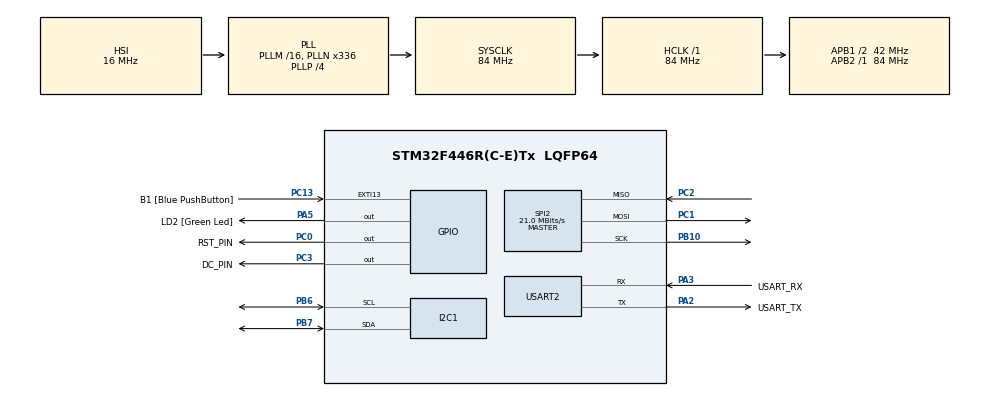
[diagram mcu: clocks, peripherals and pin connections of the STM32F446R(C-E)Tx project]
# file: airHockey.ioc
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I2C1.I2C_Mode=I2C_Fast
Mcu.Family=STM32F4
Mcu.Name=STM32F446R(C-E)Tx
Mcu.Package=LQFP64
Mcu.UserConstants=PSC_33Hz,(2520-1);PSC_125Hz,(672-1);PSC_1000Hz,(84-1)
NVIC.PriorityGroup=NVIC_PRIORITYGROUP_0
NVIC.TIM1_TRG_COM_TIM11_IRQn=true\:0\:0\:false\:false\:true\:true\:true\:true
NVIC.TIM1_UP_TIM10_IRQn=true\:0\:0\:false\:false\:true\:true\:true\:true
NVIC.TIM7_IRQn=true\:0\:0\:false\:false\:true\:true\:true\:true
NVIC.TIM8_TRG_COM_TIM14_IRQn=true\:0\:0\:false\:false\:true\:true\:true\:true
NVIC.TIM8_UP_TIM13_IRQn=true\:0\:0\:false\:false\:true\:true\:true\:true
PA13.GPIO_Label=TMS
PA13.Mode=Serial_Wire
PA13.Signal=SYS_JTMS-SWDIO
PA14.GPIO_Label=TCK
PA14.Mode=Serial_Wire
PA14.Signal=SYS_JTCK-SWCLK
PA2.GPIO_Label=USART_TX
PA2.Mode=Asynchronous
PA2.Signal=USART2_TX
PA3.GPIO_Label=USART_RX
PA3.Mode=Asynchronous
PA3.Signal=USART2_RX
PA5.GPIO_Label=LD2 [Green Led]
PA5.Signal=GPIO_Output
PB10.Mode=Full_Duplex_Master
PB10.Signal=SPI2_SCK
PB10.Mode=Full_Duplex_Master
PB10.Signal=SPI2_SCK
PB3.GPIO_Label=SWO
PB3.Signal=SYS_JTDO-SWO
PB6.Mode=I2C
PB6.Signal=I2C1_SCL
PB7.Mode=I2C
PB7.Signal=I2C1_SDA
PC0.GPIO_Label=RST_PIN
PC0.Signal=GPIO_Output
PC1.Mode=Full_Duplex_Master
PC1.Signal=SPI2_MOSI
PC0.GPIO_Label=RST_PIN
PC0.Signal=GPIO_Output
PC1.Mode=Full_Duplex_Master
PC1.Signal=SPI2_MOSI
PC13.GPIO_Label=B1 [Blue PushButton]
PC13.GPIO_ModeDefaultEXTI=GPIO_MODE_IT_FALLING
PC13.Signal=GPXTI13
PC14-OSC32_IN.Mode=LSE-External-Oscillator
PC14-OSC32_IN.Signal=RCC_OSC32_IN
PC15-OSC32_OUT.Mode=LSE-External-Oscillator
PC15-OSC32_OUT.Signal=RCC_OSC32_OUT
PC2.Mode=Full_Duplex_Master
PC2.Signal=SPI2_MISO
PC3.GPIO_Label=DC_PIN
PC3.Signal=GPIO_Output
PC2.Mode=Full_Duplex_Master
PC2.Signal=SPI2_MISO
PC3.GPIO_Label=DC_PIN
PC3.Signal=GPIO_Output
PH0-OSC_IN.Mode=HSE-External-Oscillator
PH0-OSC_IN.Signal=RCC_OSC_IN
PH1-OSC_OUT.Mode=HSE-External-Oscillator
PH1-OSC_OUT.Signal=RCC_OSC_OUT
ProjectManager.HeapSize=0x200
ProjectManager.StackSize=0x400
ProjectManager.TargetToolchain=STM32CubeIDE
RCC.48MHZClocksFreq_Value=84000000
RCC.AHBFreq_Value=84000000
RCC.APB1CLKDivider=RCC_HCLK_DIV2
RCC.APB1Freq_Value=42000000
RCC.APB1TimFreq_Value=84000000
RCC.APB2Freq_Value=84000000
RCC.APB2TimFreq_Value=84000000
RCC.CortexFreq_Value=84000000
RCC.FLatency-AdvancedSettings=FLASH_LATENCY_2
RCC.HCLKFreq_Value=84000000
RCC.HSE_VALUE=8000000
RCC.HSI_VALUE=16000000
RCC.PLLN=336
RCC.PLLP=RCC_PLLP_DIV4
RCC.SYSCLKFreq_VALUE=84000000
RCC.SYSCLKSource=RCC_SYSCLKSOURCE_PLLCLK
RCC.USBFreq_Value=168000000
RCC.VCOOutputFreq_Value=336000000
SPI2.CalculateBaudRate=21.0 MBits/s
SPI2.Direction=SPI_DIRECTION_2LINES
SPI2.Mode=SPI_MODE_MASTER
SPI2.VirtualType=VM_MASTER
TIM10.Period=4199
TIM10.Prescaler=999
TIM11.Period=8399
TIM11.Prescaler=999
TIM13.Period=2799
TIM13.Prescaler=999
TIM14.Period=1679
TIM14.Prescaler=999
TIM7.AutoReloadPreload=TIM_AUTORELOAD_PRELOAD_ENABLE
TIM7.Period=(1000-1)
TIM7.Prescaler=PSC_1000Hz
USART2.VirtualMode=VM_ASYNC
VP_TIM10_VS_ClockSourceINT.Mode=Enable_Timer
VP_TIM11_VS_ClockSourceINT.Mode=Enable_Timer
VP_TIM13_VS_ClockSourceINT.Mode=Enable_Timer
VP_TIM14_VS_ClockSourceINT.Mode=Enable_Timer
VP_TIM7_VS_ClockSourceINT.Mode=Enable_Timer
board=NUCLEO-F446RE

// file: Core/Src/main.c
/* USER CODE BEGIN Header */
/**
  ******************************************************************************
  * @file           : main.c
  * @brief          : Main program body
  ******************************************************************************
  * @attention
  *
  * Copyright (c) 2025 STMicroelectronics.
  * All rights reserved.
  *
  * This software is licensed under terms that can be found in the LICENSE file
  * in the root directory of this software component.
  * If no LICENSE file comes with this software, it is provided AS-IS.
  *
  ******************************************************************************
  */
/* USER CODE END Header */
#include "main.h"
#include "i2c.h"
#include "spi.h"
#include "tim.h"
#include "usart.h"
#include "gpio.h"

/* USER CODE BEGIN Includes */
#include "lcd5110.h"
#include "mpu6050.h"
#include "positionTracking.h"
/* USER CODE END Includes */

/* USER CODE BEGIN PTD */
enum {
	DOWN = 0,
	UP
};

enum {
	RIGHT = 0,
	LEFT
};

typedef struct {
	int width;
	int height;
	int xPosition;
	int yPosition;
	int xDirection; //enum left or right
	int yDirection; //enum um or down
} object_t;
/* USER CODE END PTD */

/* USER CODE BEGIN PD */
#define MIN_X 2
#define MAX_X 82
#define MIN_Y 2
#define MAX_Y 46
/* USER CODE END PD */

/* USER CODE BEGIN PV */
MPU6050_t MPU6050;

int data_index, shift=0, read=0;    //variable to keep track of the number of elements in the arrays

double slopeY, slopeX;

double Ax[DATA_ARRAY_SIZE]; //array to store x axis acceleration
double Vx[DATA_ARRAY_SIZE]; //array to store x axis velocity
double Px[DATA_ARRAY_SIZE]; //array to store x axis position

double Ay[DATA_ARRAY_SIZE];
double Vy[DATA_ARRAY_SIZE];
double Py[DATA_ARRAY_SIZE];

double timeTracking[DATA_ARRAY_SIZE]; //array to store time
/* USER CODE END PV */

void SystemClock_Config(void);
/* USER CODE BEGIN PFP */
void checkCollision();
void moveBall();
void moveStick();
void drawBall();
void drawStick();
int _write(int file, uint8_t* p, int len);
/* USER CODE END PFP */

/* USER CODE BEGIN 0 */
object_t ball = {
	.width = 4,
	.height = 4,
	.xPosition = 1,
	.yPosition = 1,
	.xDirection = RIGHT,
	.yDirection = DOWN
};

object_t stick = {
	.width = 10,
	.height = 30,
	.xPosition = MAX_X / 2,
	.yPosition = MAX_Y / 2,
	.xDirection = RIGHT,
	.yDirection = DOWN
};
int ballVelocityDelay = 0;
/* USER CODE END 0 */

int main(void)
{

  /* MCU Configuration--------------------------------------------------------*/

  /* Reset of all peripherals, Initializes the Flash interface and the Systick. */
  HAL_Init();

  /* Configure the system clock */
  SystemClock_Config();

  /* Initialize all configured peripherals */
  MX_GPIO_Init();
  MX_USART2_UART_Init();
  MX_I2C1_Init();
  MX_SPI2_Init();
  MX_TIM7_Init();
  MX_TIM10_Init();
  MX_TIM11_Init();
  MX_TIM14_Init();
  MX_TIM13_Init();
  /* USER CODE BEGIN 2 */
  HAL_UART_Receive_IT(&huart2, &CMD, 1);

  //wait positive answer from MPU6050 and correct initialization
  while (MPU6050_Init(&hi2c1) == 1);

  //configures lcd
  lcd5110_init();

  //initial calibration of the sensor (it has to be at rest)
  printf("\n\n\rCalibration in progress\n\rPlease STAY STILL!!!\n\r");
  lcd5110_clear();
  lcd5110_box(MAX_X/2, MAX_Y/2, MAX_X, MAX_Y);
  lcd5110_refresh();

  calibrate(Ax, Vx, Px, Ay, Vy, Py, timeTracking, &data_index, &slopeY, &slopeX, &MPU6050, &hi2c1);

  printf("Calibration done\n\r");
  lcd5110_clear();
  lcd5110_refresh();

  HAL_TIM_Base_Start_IT(&htim7);
  HAL_TIM_Base_Start_IT(&htim10);
  HAL_TIM_Base_Start_IT(&htim11);
  HAL_TIM_Base_Start_IT(&htim13);
  HAL_TIM_Base_Start_IT(&htim14);
  /* USER CODE END 2 */

  /* Infinite loop */
  /* USER CODE BEGIN WHILE */
  while (1)
  {
    while(!read);	//read each 1ms
    MPU6050_Read_Accel(&hi2c1, &MPU6050);

    if(shift){ //if the array is not full, do not shift
      shiftArray(Ax);	//shifts the array to the left
      shiftArray(Vx);
      shiftArray(Px);
      shiftArray(Ay);
      shiftArray(Vy);
      shiftArray(Py);
      shiftArray(timeTracking);
    }
    appendAccelerationData(&MPU6050, Ax, timeTracking, data_index, slopeY, 'x');	//filter, convert to m/s^2 and append acceleration data to the array
    calculateVelocity(Ax, Vx, timeTracking, data_index);	//calculates and filters velocity based on acceleration data
    calculatePosition(Vx, Px, timeTracking, data_index);	//calculates position based on velocity data

    appendAccelerationData(&MPU6050, Ay, timeTracking, data_index, slopeX, 'y');
    calculateVelocity(Ay, Vy, timeTracking, data_index);
    calculatePosition(Vy, Py, timeTracking, data_index);

    //printf("slopeY: %i, Ax: %imm/s^2, Vx: %imm/s, Px: %imm,                 \r", (int)(slope[0]*1000), (int)(Ax[data_index]*1000), (int)(Vx[data_index]*1000), (int)(Px[data_index]*1000)); //print slopeY, acceleration, velocity and position data (X axis)

    if(data_index<DATA_ARRAY_SIZE-1)  data_index++; //if the array is not full, append data to the next index
    else                              shift=1;      //if the array is full, start shifting it and appending data to the last index

    read=0; //reset read flag

    /* USER CODE END WHILE */

  }
}

void SystemClock_Config(void)
{
  RCC_OscInitTypeDef RCC_OscInitStruct = {0};
  RCC_ClkInitTypeDef RCC_ClkInitStruct = {0};

  /** Configure the main internal regulator output voltage
  */
  __HAL_RCC_PWR_CLK_ENABLE();
  __HAL_PWR_VOLTAGESCALING_CONFIG(PWR_REGULATOR_VOLTAGE_SCALE3);

  /** Initializes the RCC Oscillators according to the specified parameters
  * in the RCC_OscInitTypeDef structure.
  */
  RCC_OscInitStruct.OscillatorType = RCC_OSCILLATORTYPE_HSI;
  RCC_OscInitStruct.HSIState = RCC_HSI_ON;
  RCC_OscInitStruct.HSICalibrationValue = RCC_HSICALIBRATION_DEFAULT;
  RCC_OscInitStruct.PLL.PLLState = RCC_PLL_ON;
  RCC_OscInitStruct.PLL.PLLSource = RCC_PLLSOURCE_HSI;
  RCC_OscInitStruct.PLL.PLLM = 16;
  RCC_OscInitStruct.PLL.PLLN = 336;
  RCC_OscInitStruct.PLL.PLLP = RCC_PLLP_DIV4;
  RCC_OscInitStruct.PLL.PLLQ = 2;
  RCC_OscInitStruct.PLL.PLLR = 2;
  if (HAL_RCC_OscConfig(&RCC_OscInitStruct) != HAL_OK)
  {
    Error_Handler();
  }

  /** Initializes the CPU, AHB and APB buses clocks
  */
  RCC_ClkInitStruct.ClockType = RCC_CLOCKTYPE_HCLK|RCC_CLOCKTYPE_SYSCLK
                              |RCC_CLOCKTYPE_PCLK1|RCC_CLOCKTYPE_PCLK2;
  RCC_ClkInitStruct.SYSCLKSource = RCC_SYSCLKSOURCE_PLLCLK;
  RCC_ClkInitStruct.AHBCLKDivider = RCC_SYSCLK_DIV1;
  RCC_ClkInitStruct.APB1CLKDivider = RCC_HCLK_DIV2;
  RCC_ClkInitStruct.APB2CLKDivider = RCC_HCLK_DIV1;

  if (HAL_RCC_ClockConfig(&RCC_ClkInitStruct, FLASH_LATENCY_2) != HAL_OK)
  {
    Error_Handler();
  }
}

/* USER CODE BEGIN 4 */
void HAL_UART_RxCpltCallback(UART_HandleTypeDef *huart) {
	HAL_UART_Transmit(&huart2, &CMD, 1, TOUT);
	HAL_UART_Receive_IT(&huart2, &CMD, 1);
}

int _write(int file, uint8_t* p, int len)
{
	if(HAL_UART_Transmit(&huart2, p, len, len) == HAL_OK )
	{
		return len;
	}
	return 0;
}

void HAL_TIM_PeriodElapsedCallback(TIM_HandleTypeDef *htim) {
	if (htim->Instance == TIM10) {  //20Hz stick speed
		moveStick();
	}
	if (htim->Instance == TIM11) {  //10Hz ball speed
		moveBall();
		checkCollision();

		if (htim->Init.Period == 1679) { //if its currently in 50 Hz
			if (ballVelocityDelay == 50) { //stay like this for one second
				__HAL_TIM_SET_AUTORELOAD(&htim11, 4199); //change back to 10 Hz
				ballVelocityDelay = 0;
			} else ballVelocityDelay++;
		}
	}
	if (htim->Instance == TIM14) {  //50Hz atualização da tela
		lcd5110_clear();

		drawBall();
		drawStick();

		lcd5110_refresh();
	}
	if (htim->Instance == TIM7) read = 1; //timer to read data from MPU6050 every 1ms
}

void checkCollision() {
	int p = stick.yPosition - (stick.height / 2) - 1, //get top position
		  q = stick.yPosition + (stick.height / 2) + 1, //get bottom position
		  r = stick.xPosition - (stick.width / 2) - 1,  //get right position
		  s = stick.xPosition + (stick.width / 2) + 1;  //get left position
	int x = ball.xPosition, y = ball.yPosition;

	if ((y > p) && (y < q) && (x == r) && (ball.xDirection == RIGHT)) { //hit from left
		ball.xDirection = !(ball.xDirection);
		__HAL_TIM_SET_AUTORELOAD(&htim11, 1679);
		ballVelocityDelay = 0;
	}
	if ((y > p) && (y < q) && (x == s) && (ball.xDirection == LEFT)) { //hit from right
		ball.xDirection = !(ball.xDirection);
		__HAL_TIM_SET_AUTORELOAD(&htim11, 1679);
		ballVelocityDelay = 0;
	}
	if ((x > r) && (x < s) && (y == q) && (ball.yDirection == UP)) { //hit from bellow
		ball.yDirection = !(ball.yDirection);
		__HAL_TIM_SET_AUTORELOAD(&htim11, 1679);
		ballVelocityDelay = 0;
	}
	if ((x > r) && (x < s) && (y == p) && (ball.yDirection == DOWN)) { //hit from above
		ball.yDirection = !(ball.yDirection);
		__HAL_TIM_SET_AUTORELOAD(&htim11, 1679);
		ballVelocityDelay = 0;
	}

	//diagonals
	if ((x == r) && (y == q) && (ball.xDirection == RIGHT) && (ball.yDirection == UP)) { //bottom left
		ball.xDirection = !(ball.xDirection);
		ball.yDirection = !(ball.yDirection);
	}
	if ((x == r) && (y == p) && (ball.xDirection == RIGHT) && (ball.yDirection == DOWN)) { //top left
		ball.xDirection = !(ball.xDirection);
		ball.yDirection = !(ball.yDirection);
	}
	if ((x == s) && (y == q) && (ball.xDirection == LEFT) && (ball.yDirection == UP)) { //bottom right
		ball.xDirection = !(ball.xDirection);
		ball.yDirection = !(ball.yDirection);
	}
	if ((x == s) && (y == p) && (ball.xDirection == LEFT) && (ball.yDirection == DOWN)) { //top right
		ball.xDirection = !(ball.xDirection);
		ball.yDirection = !(ball.yDirection);
	}
}

void moveStick() {
	int x = - (Py[28] * 100); //get instant position and change to decimal
	int y = - (Px[28] * 100); // ||

	//sensibility configuration
	stick.xPosition = 10 + (x);
	stick.yPosition = (MAX_Y/2) + (y * 2);
}

void moveBall() {
	checkCollision();

	//change direction if it hits the corners of the display
	if (ball.xPosition >= MAX_X) ball.xDirection = LEFT;
	if (ball.xPosition <= MIN_X) ball.xDirection = RIGHT;
	if (ball.yPosition >= MAX_Y) ball.yDirection = UP;
	if (ball.yPosition <= MIN_Y) ball.yDirection = DOWN;

	//increase x position moving right, decrease moving left
	if (!ball.xDirection) ball.xPosition = ++ball.xPosition;
	else ball.xPosition = --ball.xPosition;

	//increase y position moving down, decrease moving up
	if (!ball.yDirection) ball.yPosition = ++ball.yPosition;
	else ball.yPosition = --ball.yPosition;
}

void drawBall() {
	lcd5110_box(ball.xPosition, ball.yPosition, ball.width, ball.height);
}

void drawStick() {
	lcd5110_box(stick.xPosition, stick.yPosition, stick.width, stick.height);
}
/* USER CODE END 4 */

void Error_Handler(void)
{
  __disable_irq();
  while (1)
  {
  }
}
